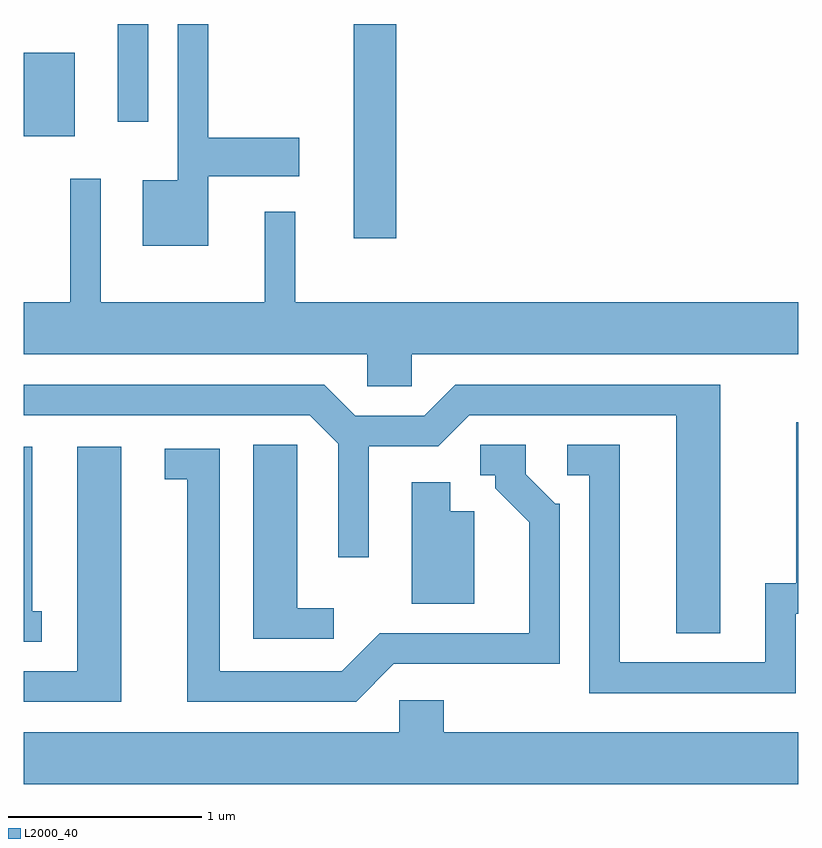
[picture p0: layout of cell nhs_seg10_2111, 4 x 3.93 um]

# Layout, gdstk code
import gdstk
lib = gdstk.Library(unit=1e-6, precision=1e-09)
def R(c, l, rs):  # rectangles x0, y0, x1, y1
    for r in rs: c.add(gdstk.rectangle(r[:2], r[2:], *l))
def P(c, l, *ps):  # polygons
    for p in ps: c.add(gdstk.Polygon(p, *l))
L2000_40 = (2000, 40)

nhs_seg10_2111 = lib.new_cell('nhs_seg10_2111')
R(nhs_seg10_2111, L2000_40, [(249.316,2103.416,249.534,2104.522), (247.611,2103.941,247.874,2104.374), (248.096,2104.018,248.254,2104.522)])
P(nhs_seg10_2111, L2000_40, [(248.564,2103.736),(249.034,2103.736),(249.034,2103.934),(248.564,2103.934),(248.564,2104.522),(248.406,2104.522),(248.406,2103.714),(248.226,2103.714),(248.226,2103.376),(248.564,2103.376)],
  [(249.614,2102.816),(251.611,2102.816),(251.611,2103.084),(249.014,2103.084),(249.014,2103.553),(248.856,2103.553),(248.856,2103.084),(248.009,2103.084),(248.009,2103.723),(247.851,2103.723),(247.851,2103.084),(247.611,2103.084),(247.611,2102.816),(249.386,2102.816),(249.386,2102.651),(249.614,2102.651)],
  [(251.209,2102.659),(249.839,2102.659),(249.679,2102.499),(249.322,2102.499),(249.162,2102.659),(247.611,2102.659),(247.611,2102.501),(249.089,2102.501),(249.236,2102.354),(249.236,2101.768),(249.394,2101.768),(249.394,2102.341),(249.752,2102.341),(249.912,2102.501),(250.981,2102.501),(250.981,2101.376),(251.209,2101.376)],
  [(251.599,2101.476),(251.611,2101.476),(251.611,2102.464),(251.601,2102.464),(251.601,2101.634),(251.441,2101.634),(251.441,2101.224),(250.689,2101.224),(250.689,2102.349),(250.418,2102.349),(250.418,2102.191),(250.531,2102.191),(250.531,2101.066),(251.599,2101.066)],
  [(249.213,2101.504),(249.024,2101.504),(249.024,2102.349),(248.796,2102.349),(248.796,2101.346),(249.213,2101.346)],
  [(249.522,2101.216),(250.379,2101.216),(250.379,2102.044),(250.357,2102.044),(250.204,2102.197),(250.204,2102.349),(249.968,2102.349),(249.968,2102.191),(250.046,2102.191),(250.046,2102.124),(250.221,2101.949),(250.221,2101.374),(249.449,2101.374),(249.254,2101.179),(248.624,2101.179),(248.624,2102.329),(248.338,2102.329),(248.338,2102.171),(248.456,2102.171),(248.456,2101.021),(249.327,2101.021)],
  [(248.114,2102.339),(247.886,2102.339),(247.886,2101.179),(247.611,2101.179),(247.611,2101.021),(248.114,2101.021)],
  [(247.703,2101.489),(247.654,2101.489),(247.654,2102.339),(247.611,2102.339),(247.611,2101.331),(247.703,2101.331)],
  [(249.939,2102.004),(249.814,2102.004),(249.814,2102.154),(249.616,2102.154),(249.616,2101.526),(249.939,2101.526)],
  [(251.611,2100.864),(249.779,2100.864),(249.779,2101.029),(249.551,2101.029),(249.551,2100.864),(247.611,2100.864),(247.611,2100.596),(251.611,2100.596)])

lib.write_gds('nhs_seg10_2111.gds')
